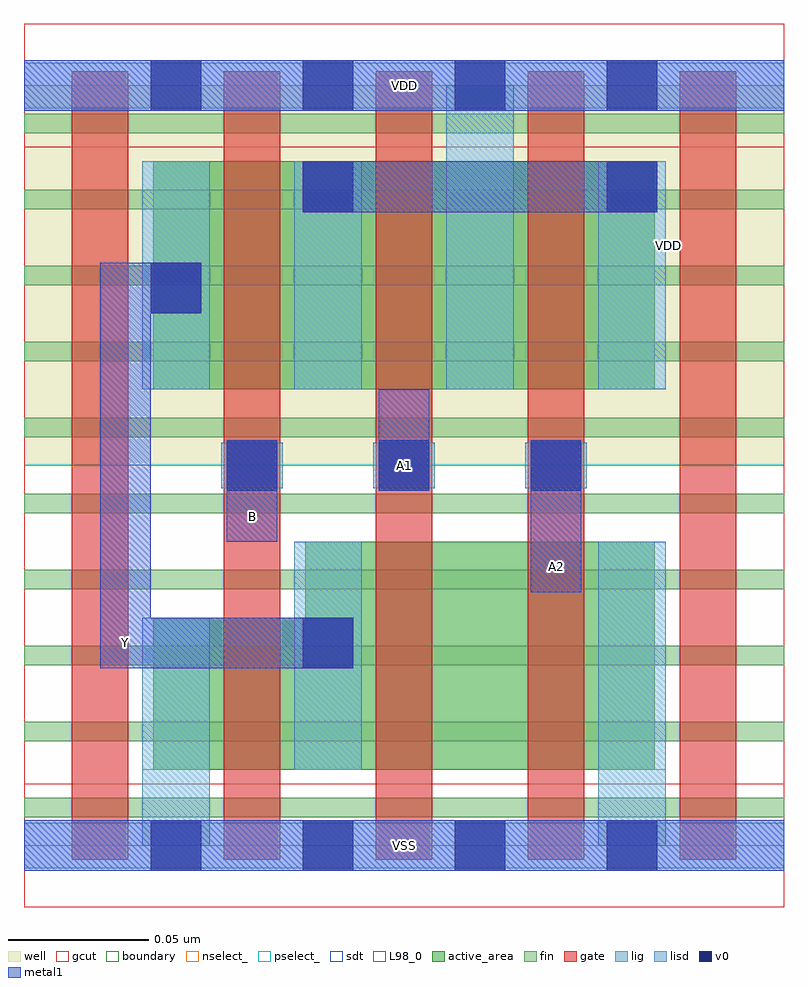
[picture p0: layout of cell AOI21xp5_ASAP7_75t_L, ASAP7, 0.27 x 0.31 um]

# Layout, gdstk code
import gdstk
lib = gdstk.Library(unit=1e-6, precision=2.5e-10)
def R(c, l, rs):  # rectangles x0, y0, x1, y1
    for r in rs: c.add(gdstk.rectangle(r[:2], r[2:], *l))
def A(c, l, x, y, w, h, nx, ny, dx, dy):  # array of equal rectangles
    R(c, l, [(x+i*dx, y+j*dy, x+i*dx+w, y+j*dy+h) for i in range(nx) for j in range(ny)])
def P(c, l, *ps):  # polygons
    for p in ps: c.add(gdstk.Polygon(p, *l))
well = (1, 0)
fin = (2, 0)
gate = (7, 0)
gcut = (10, 0)
active_area = (11, 0)
nselect_ = (12, 0)
pselect_ = (13, 0)
lig = (16, 0)
lisd = (17, 0)
v0 = (18, 0)
metal1 = (19, 0)
sdt = (88, 0)
L98_0 = (98, 0)
boundary = (100, 0)

aoi21xp5_asap7_75t_l = lib.new_cell('AOI21xp5_ASAP7_75t_L')
R(aoi21xp5_asap7_75t_l, well, [(0,0.135,0.27,0.27)])
A(aoi21xp5_asap7_75t_l, fin, 0, 0.01, 0.27, 0.007, 1, 10, 0, 0.027)
A(aoi21xp5_asap7_75t_l, gate, 0.017, -0.005, 0.02, 0.28, 5, 1, 0.054, 0)
R(aoi21xp5_asap7_75t_l, gcut, [(0,-0.022,0.27,0.022), (0,0.248,0.27,0.292)])
R(aoi21xp5_asap7_75t_l, active_area, [(0.046,0.162,0.224,0.243)])
P(aoi21xp5_asap7_75t_l, active_area, [(0.224,0.108),(0.1,0.108),(0.1,0.081),(0.046,0.081),(0.046,0.027),(0.224,0.027)])
R(aoi21xp5_asap7_75t_l, nselect_, [(0,0,0.27,0.135)])
R(aoi21xp5_asap7_75t_l, pselect_, [(0,0.135,0.27,0.27)])
A(aoi21xp5_asap7_75t_l, lig, 0.07, 0.127, 0.022, 0.016, 3, 1, 0.054, 0)
R(aoi21xp5_asap7_75t_l, lig, [(0,-0.008,0.27,0.008), (0,0.262,0.27,0.278)])
R(aoi21xp5_asap7_75t_l, lisd, [(0.042,0,0.066,0.081), (0.204,0,0.228,0.108), (0.096,0.027,0.12,0.108), (0.042,0.162,0.066,0.243), (0.096,0.162,0.12,0.243), (0.15,0.162,0.174,0.27), (0.204,0.162,0.228,0.243)])
A(aoi21xp5_asap7_75t_l, v0, 0.045, -0.009, 0.018, 0.018, 4, 2, 0.054, 0.27)
A(aoi21xp5_asap7_75t_l, v0, 0.072, 0.126, 0.018, 0.018, 3, 1, 0.054, 0)
R(aoi21xp5_asap7_75t_l, v0, [(0.099,0.063,0.117,0.081), (0.045,0.189,0.063,0.207), (0.099,0.225,0.117,0.243), (0.207,0.225,0.225,0.243)])
R(aoi21xp5_asap7_75t_l, metal1, [(0,-0.009,0.27,0.009), (0.18,0.09,0.198,0.144), (0.072,0.108,0.09,0.144), (0.126,0.126,0.144,0.162), (0.099,0.225,0.225,0.243), (0,0.261,0.27,0.279)])
P(aoi21xp5_asap7_75t_l, metal1, [(0.117,0.081),(0.045,0.081),(0.045,0.189),(0.063,0.189),(0.063,0.207),(0.027,0.207),(0.027,0.063),(0.117,0.063)])
A(aoi21xp5_asap7_75t_l, sdt, 0.042, 0.162, 0.024, 0.081, 4, 1, 0.054, 0)
R(aoi21xp5_asap7_75t_l, sdt, [(0.042,0.027,0.066,0.081), (0.096,0.027,0.12,0.108), (0.204,0.027,0.228,0.108)])
R(aoi21xp5_asap7_75t_l, L98_0, [(0,0,0.27,0.27)])
R(aoi21xp5_asap7_75t_l, boundary, [(0,0,0.27,0.27)])
aoi21xp5_asap7_75t_l.add(gdstk.Label('Y', (0.036,0.072), layer=19, texttype=251))
aoi21xp5_asap7_75t_l.add(gdstk.Label('B', (0.081,0.117), layer=19, texttype=251))
aoi21xp5_asap7_75t_l.add(gdstk.Label('A2', (0.189,0.099), layer=19, texttype=251))
aoi21xp5_asap7_75t_l.add(gdstk.Label('A1', (0.135,0.135), layer=19, texttype=251))
aoi21xp5_asap7_75t_l.add(gdstk.Label('VSS', (0.135,0), layer=19, texttype=251))
aoi21xp5_asap7_75t_l.add(gdstk.Label('VDD', (0.135,0.27), layer=19, texttype=251))
aoi21xp5_asap7_75t_l.add(gdstk.Label('VDD', (0.229,0.213), layer=1, texttype=251))
aoi21xp5_asap7_75t_l.add(gdstk.Label('VSS', (0.31,0.213), layer=3, texttype=251))

lib.write_gds('AOI21xp5_ASAP7_75t_L.gds')
